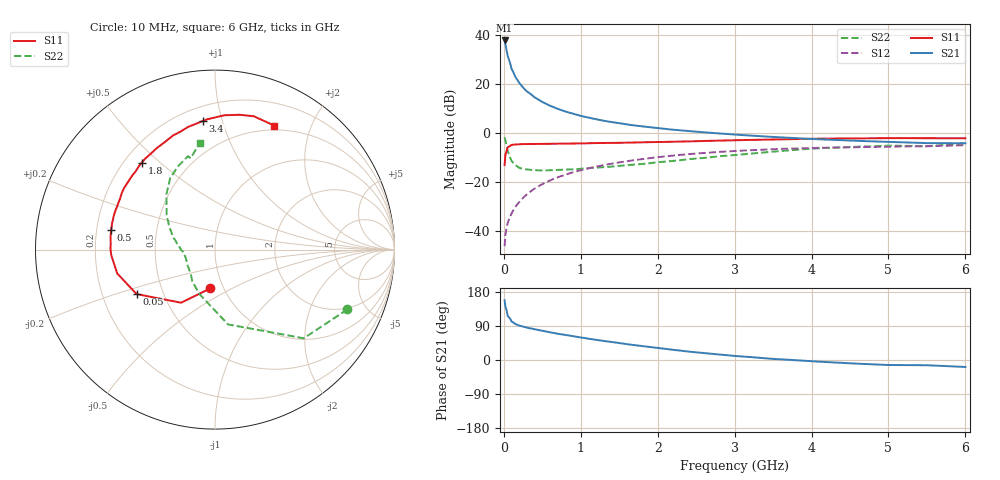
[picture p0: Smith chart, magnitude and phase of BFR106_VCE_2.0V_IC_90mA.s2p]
! Infineon Technologies  Discrete & RF Semiconductors
! BFR106
! VCE =  2.0 V,  IC =  90 mA
! Common Emitter S-Parameters:  Nov 2015
# GHz  S  MA  R  50
!  f  S11  S21  S12  S22
! GHz  MAG  ANG  MAG  ANG  MAG  ANG  MAG  ANG
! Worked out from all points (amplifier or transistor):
!   210 points, 10 MHz to 6 GHz, reference 50 ohm
!   highest |S21| = 37.6 dB at 10 MHz (marker M1)
!   |S21| within 3 dB of that: start of sweep to 30.01 MHz
!   unconditionally stable (mu >= 1): 146.6 MHz to 3.336 GHz; 4.543 GHz to end of sweep
!   at 185 MHz: K = 1.03, MAG = 23.9 dB, |S12| = -28.9 dB
!   at 1.52 GHz: K = 1.07, MAG = 6.3 dB, |S12| = -12.1 dB
!   at 6 GHz: K = 1.02, MAG = -0.4 dB, |S12| = -5.1 dB
!   S11 on the Smith chart (normalised r, x): 10 MHz: 0.87, -0.39; 50 MHz: 0.35, -0.23; 500 MHz: 0.26, +0.09; 1.8 GHz: 0.27, +0.44; 3.4 GHz: 0.29, +0.87; 6 GHz: 0.45, +1.49
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0.01  0.2177 -97.0  76.02 157.6  0.0048 76.2  0.8096 -24.3
0.02  0.351 -122.5  63.75 140.9  0.0081 67.7  0.6989 -45.0
0.05  0.502 -150.4  36.69 115.9  0.0143 60.3  0.4233 -80.1
0.1  0.5607 -166.3  20.12 101.5  0.0223 64.0  0.2641 -108.7
0.15  0.572 -173.7  13.65 94.8  0.0303 69.2  0.2181 -125.4
0.2  0.5791 -177.2  10.36 90.8  0.0382 71.1  0.1908 -135.1
0.24  0.5819 -179.9  8.686 88.4  0.0448 71.9  0.1822 -142.3
0.26  0.5825 179.0  8.001 87.2  0.0481 72.4  0.1796 -145.2
0.3  0.5816 177.2  6.932 85.2  0.0548 73.2  0.1767 -149.1
0.4  0.5867 172.6  5.247 81.0  0.0718 73.3  0.1711 -157.7
0.5  0.5891 169.1  4.214 76.9  0.0886 72.8  0.1688 -163.0
0.6  0.5921 165.3  3.538 73.1  0.1055 71.8  0.1699 -166.4
0.7  0.5946 161.8  3.057 69.2  0.1219 70.5  0.1734 -169.4
1.02  0.6011 151.5  2.158 58.9  0.1737 65.6  0.183 -177.6
1.3  0.6129 143.4  1.742 50.2  0.2175 60.8  0.1966 176.2
1.8  0.6334 130.1  1.339 36.8  0.2882 52.0  0.2281 166.4
2.02  0.6418 124.6  1.223 31.2  0.3176 48.1  0.2498 161.8
3.1  0.7034 100.7  0.89 9.3  0.4289 29.7  0.3596 138.7
3.4  0.72 95.3  0.833 4.6  0.452 25.1  0.3966 133.0
4.1  0.7522 84.7  0.73 -4.4  0.4894 14.7  0.4775 120.2
5.1  0.7718 72.7  0.637 -13.3  0.5184 3.0  0.5386 105.9
6  0.7657 64.4  0.606 -18.4  0.5529 -5.9  0.5994 98.2
